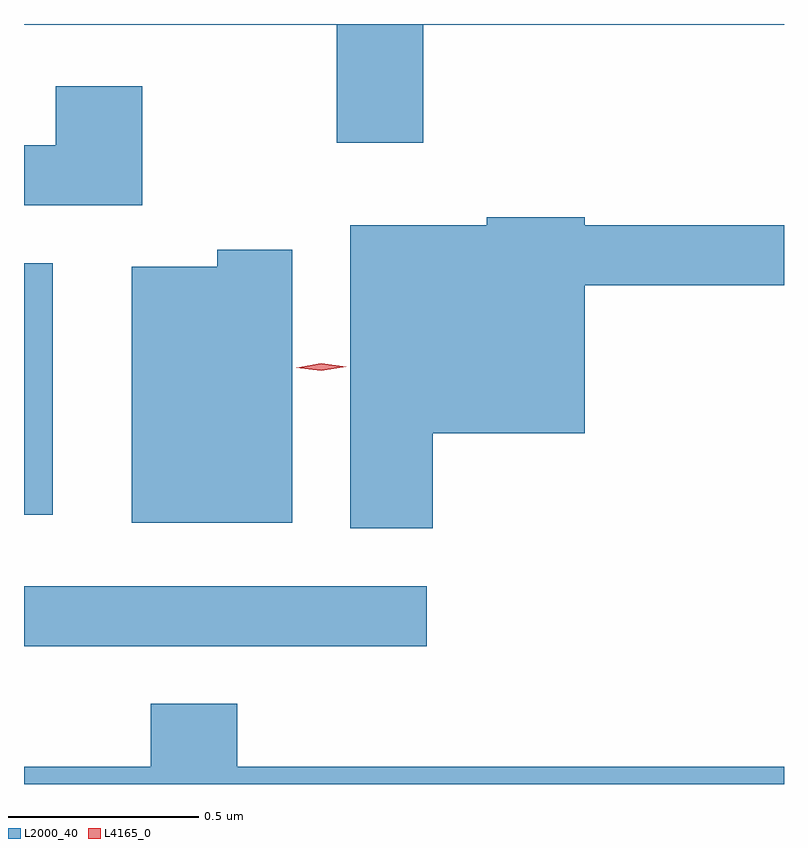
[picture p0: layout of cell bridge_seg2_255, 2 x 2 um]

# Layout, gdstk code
import gdstk
lib = gdstk.Library(unit=1e-6, precision=1e-09)
def R(c, l, rs):  # rectangles x0, y0, x1, y1
    for r in rs: c.add(gdstk.rectangle(r[:2], r[2:], *l))
def P(c, l, *ps):  # polygons
    for p in ps: c.add(gdstk.Polygon(p, *l))
L2000_40 = (2000, 40)
L4165_0 = (4165, 0)

bridge_seg2_255 = lib.new_cell('bridge_seg2_255')
R(bridge_seg2_255, L2000_40, [(484.888,1082.201,485.948,1082.359), (484.888,1082.546,484.964,1083.209)])
P(bridge_seg2_255, L2000_40, [(485.939,1083.836),(486.888,1083.836),(486.888,1083.838),(484.888,1083.838),(484.888,1083.836),(485.711,1083.836),(485.711,1083.526),(485.939,1083.526)],
  [(485.199,1083.674),(484.971,1083.674),(484.971,1083.519),(484.888,1083.519),(484.888,1083.361),(485.199,1083.361)],
  [(485.964,1082.761),(486.364,1082.761),(486.364,1083.151),(486.888,1083.151),(486.888,1083.309),(486.364,1083.309),(486.364,1083.329),(486.106,1083.329),(486.106,1083.309),(485.746,1083.309),(485.746,1082.511),(485.964,1082.511)],
  [(485.594,1083.244),(485.396,1083.244),(485.396,1083.199),(485.171,1083.199),(485.171,1082.526),(485.594,1082.526)],
  [(486.888,1081.884),(485.449,1081.884),(485.449,1082.049),(485.221,1082.049),(485.221,1081.884),(484.888,1081.884),(484.888,1081.838),(486.888,1081.838)])
P(bridge_seg2_255, L4165_0, [(485.67,1082.925),(485.604,1082.933),(485.604,1082.934),(485.604,1082.934),(485.67,1082.945),(485.736,1082.936),(485.736,1082.936),(485.736,1082.936)])

lib.write_gds('bridge_seg2_255.gds')
